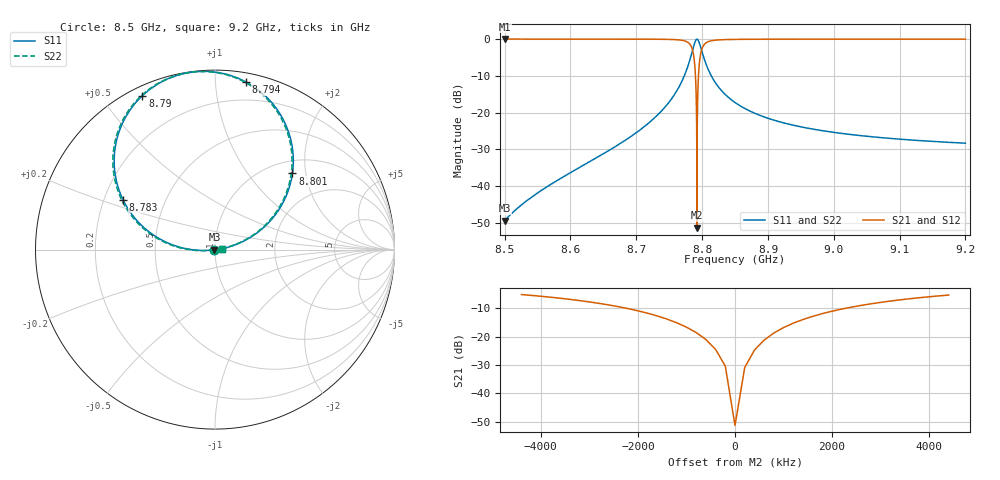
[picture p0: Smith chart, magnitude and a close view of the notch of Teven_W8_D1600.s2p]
! Sonnet Data File
! From: emgraph Version : 16.52
! From Project: transmon_brg
! Data is De-embedded
! Data File Written: 11/11/2017 22:44:25
!< HDATE 11/11/2017 16:55:33
!< MDATE 11/11/2017 17:38:18
!< PARAMS
!< Lj = 15.24
!< Gap = 6.0
!< Width = 10.0
!< Airgap = 6.0
!< Pwidth = 2000.0
!< Dist = 1600.0
!< END PARAMS
# GHZ S MA R 51.80000
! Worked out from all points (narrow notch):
!   3501 points, 8.5 GHz to 9.2 GHz, reference 51.8 ohm
!   highest |S21| = 0.00 dB at 8.501 GHz (marker M1); lowest = -51.3 dB at 8.792 GHz (marker M2)
!   notch at M2: 51.3 dB deep, 734 kHz wide at half that depth
!   lowest |S11| = -49.4 dB at 8.5 GHz (marker M3), VSWR 1.01, Z = 51.5 - j0.0444 ohm
!   |S11| at or under -10 dB: start of sweep to 8.773 GHz; 8.814 GHz to end of sweep
!   |S22| runs from -49.4 to 0.0 dB; largest |S21 - S12| = 0
!   S11 on the Smith chart (normalised r, x): 8.5 GHz: 0.99, -0.00; 8.783 GHz: 0.28, +0.24; 8.79 GHz: 0.04, +0.63; 8.794 GHz: 0.06, +1.20; 8.801 GHz: 1.26, +1.69; 9.2 GHz: 1.08, +0.01
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8.5  0.003397 -172.7  1 -79.8  1 -79.8  0.003396 -167.0
!< P1 F=8.5 Eeff=(6.44695349 -2.9785e-5) Z0=(51.7999087 1.19092e-4) R=0.0 C=0.0
!< P2 F=8.5 Eeff=(6.44695349 -2.9785e-5) Z0=(51.7999087 1.19092e-4) R=0.0 C=0.0
8.5006  0.003443 -172.7  1 -79.8  1 -79.8  0.003443 -167.0
8.5458  0.00761 -172.0  1 -80.5  1 -80.5  0.00761 -169.0
8.6168  0.01861 -172.7  0.9998 -81.8  0.9998 -81.8  0.01861 -170.9
8.6894  0.0458 -174.6  0.9989 -84.0  0.9989 -84.0  0.0458 -173.4
8.7334  0.09488 -177.8  0.9955 -87.2  0.9955 -87.2  0.09488 -176.8
8.7706  0.2826 170.9  0.959 -98.6  0.959 -98.6  0.2826 171.8
8.778  0.4168 162.7  0.9084 -106.8  0.9084 -106.8  0.4168 163.5
8.783  0.5834 151.5  0.8111 -117.9  0.8111 -117.9  0.5834 152.4
8.7872  0.8001 133.9  0.597 -135.4  0.597 -135.4  0.8001 134.8
8.79  0.9485 115.3  0.3092 -153.9  0.3092 -153.9  0.9485 116.1
8.7922  0.9974 97.3  0.002729 -100.9  0.002729 -100.9  0.9974 98.1
8.7944  0.9502 79.5  0.3041 -10.5  0.3041 -10.5  0.9502 80.3
8.7972  0.8093 61.4  0.5845 -28.4  0.5845 -28.4  0.8093 62.2
8.8014  0.6053 44.5  0.7948 -45.2  0.7948 -45.2  0.6053 45.3
8.807  0.4334 32.9  0.9007 -56.8  0.9007 -56.8  0.4334 33.7
8.815  0.3043 24.8  0.9523 -64.8  0.9523 -64.8  0.3043 25.6
8.85  0.1374 14.7  0.9905 -75.0  0.9905 -75.0  0.1374 15.4
8.8976  0.08526 11.3  0.9963 -78.4  0.9963 -78.4  0.08526 11.9
8.9668  0.06003 9.2  0.9982 -80.5  0.9982 -80.5  0.06003 9.7
9.0834  0.04478 7.3  0.999 -82.5  0.999 -82.5  0.04478 7.7
9.2  0.03841 5.9  0.9993 -84.0  0.9993 -84.0  0.03841 6.2
